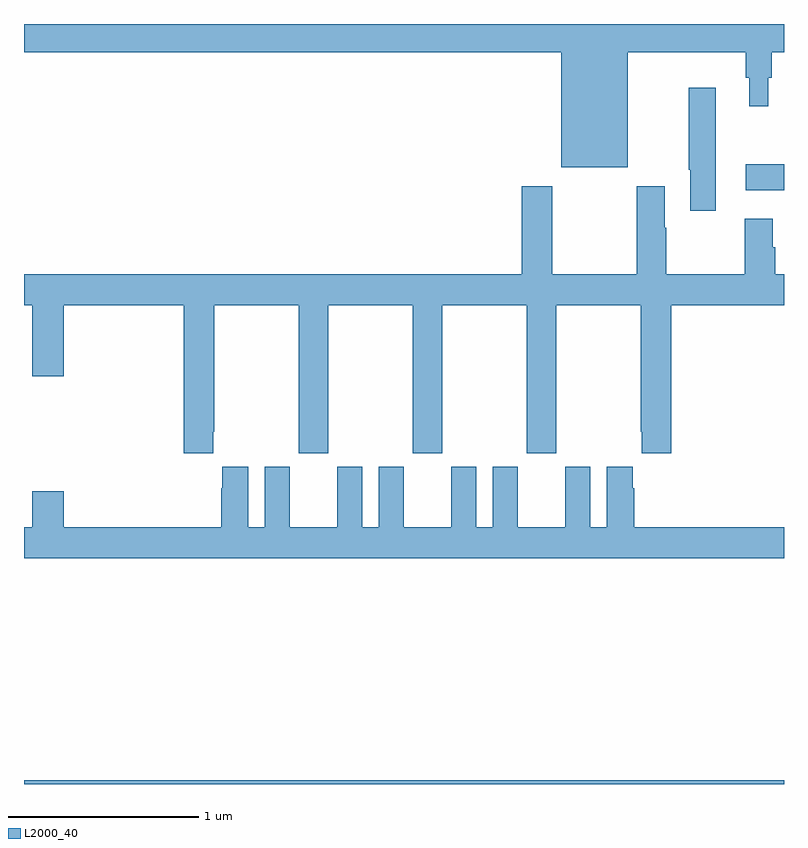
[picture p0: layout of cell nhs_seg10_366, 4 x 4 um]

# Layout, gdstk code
import gdstk
lib = gdstk.Library(unit=1e-6, precision=1e-09)
def R(c, l, rs):  # rectangles x0, y0, x1, y1
    for r in rs: c.add(gdstk.rectangle(r[:2], r[2:], *l))
def P(c, l, *ps):  # polygons
    for p in ps: c.add(gdstk.Polygon(p, *l))
L2000_40 = (2000, 40)

nhs_seg10_366 = lib.new_cell('nhs_seg10_366')
R(nhs_seg10_366, L2000_40, [(129,1260.5,133,1260.52), (132.798,1263.626,133,1263.761)])
P(nhs_seg10_366, L2000_40, [(132.178,1264.352),(132.799,1264.352),(132.799,1264.218),(132.818,1264.218),(132.818,1264.068),(132.916,1264.068),(132.916,1264.218),(132.935,1264.218),(132.935,1264.352),(133,1264.352),(133,1264.5),(129,1264.5),(129,1264.352),(131.828,1264.352),(131.828,1263.746),(132.178,1263.746)],
  [(132.64,1264.165),(132.499,1264.165),(132.499,1263.733),(132.506,1263.733),(132.506,1263.516),(132.64,1263.516)],
  [(129.997,1262.353),(130.002,1262.353),(130.002,1263.02),(130.447,1263.02),(130.447,1262.241),(130.602,1262.241),(130.602,1263.02),(131.047,1263.02),(131.047,1262.241),(131.202,1262.241),(131.202,1263.02),(131.647,1263.02),(131.647,1262.241),(131.802,1262.241),(131.802,1263.02),(132.247,1263.02),(132.247,1262.353),(132.251,1262.353),(132.251,1262.241),(132.407,1262.241),(132.407,1263.02),(133,1263.02),(133,1263.184),(132.953,1263.184),(132.953,1263.326),(132.94,1263.326),(132.94,1263.475),(132.793,1263.475),(132.793,1263.184),(132.381,1263.184),(132.381,1263.428),(132.373,1263.428),(132.373,1263.646),(132.226,1263.646),(132.226,1263.184),(131.781,1263.184),(131.781,1263.646),(131.621,1263.646),(131.621,1263.184),(129,1263.184),(129,1263.02),(129.044,1263.02),(129.044,1262.646),(129.208,1262.646),(129.208,1263.02),(129.842,1263.02),(129.842,1262.241),(129.997,1262.241)],
  [(133,1261.852),(132.212,1261.852),(132.212,1262.057),(132.205,1262.057),(132.205,1262.17),(132.068,1262.17),(132.068,1261.852),(131.98,1261.852),(131.98,1262.17),(131.849,1262.17),(131.849,1261.852),(131.599,1261.852),(131.599,1262.17),(131.468,1262.17),(131.468,1261.852),(131.38,1261.852),(131.38,1262.17),(131.249,1262.17),(131.249,1261.852),(130.999,1261.852),(130.999,1262.17),(130.868,1262.17),(130.868,1261.852),(130.78,1261.852),(130.78,1262.17),(130.649,1262.17),(130.649,1261.852),(130.399,1261.852),(130.399,1262.17),(130.268,1262.17),(130.268,1261.852),(130.18,1261.852),(130.18,1262.17),(130.043,1262.17),(130.043,1262.057),(130.037,1262.057),(130.037,1261.852),(129.208,1261.852),(129.208,1262.041),(129.044,1262.041),(129.044,1261.852),(129,1261.852),(129,1261.688),(133,1261.688)])

lib.write_gds('nhs_seg10_366.gds')
